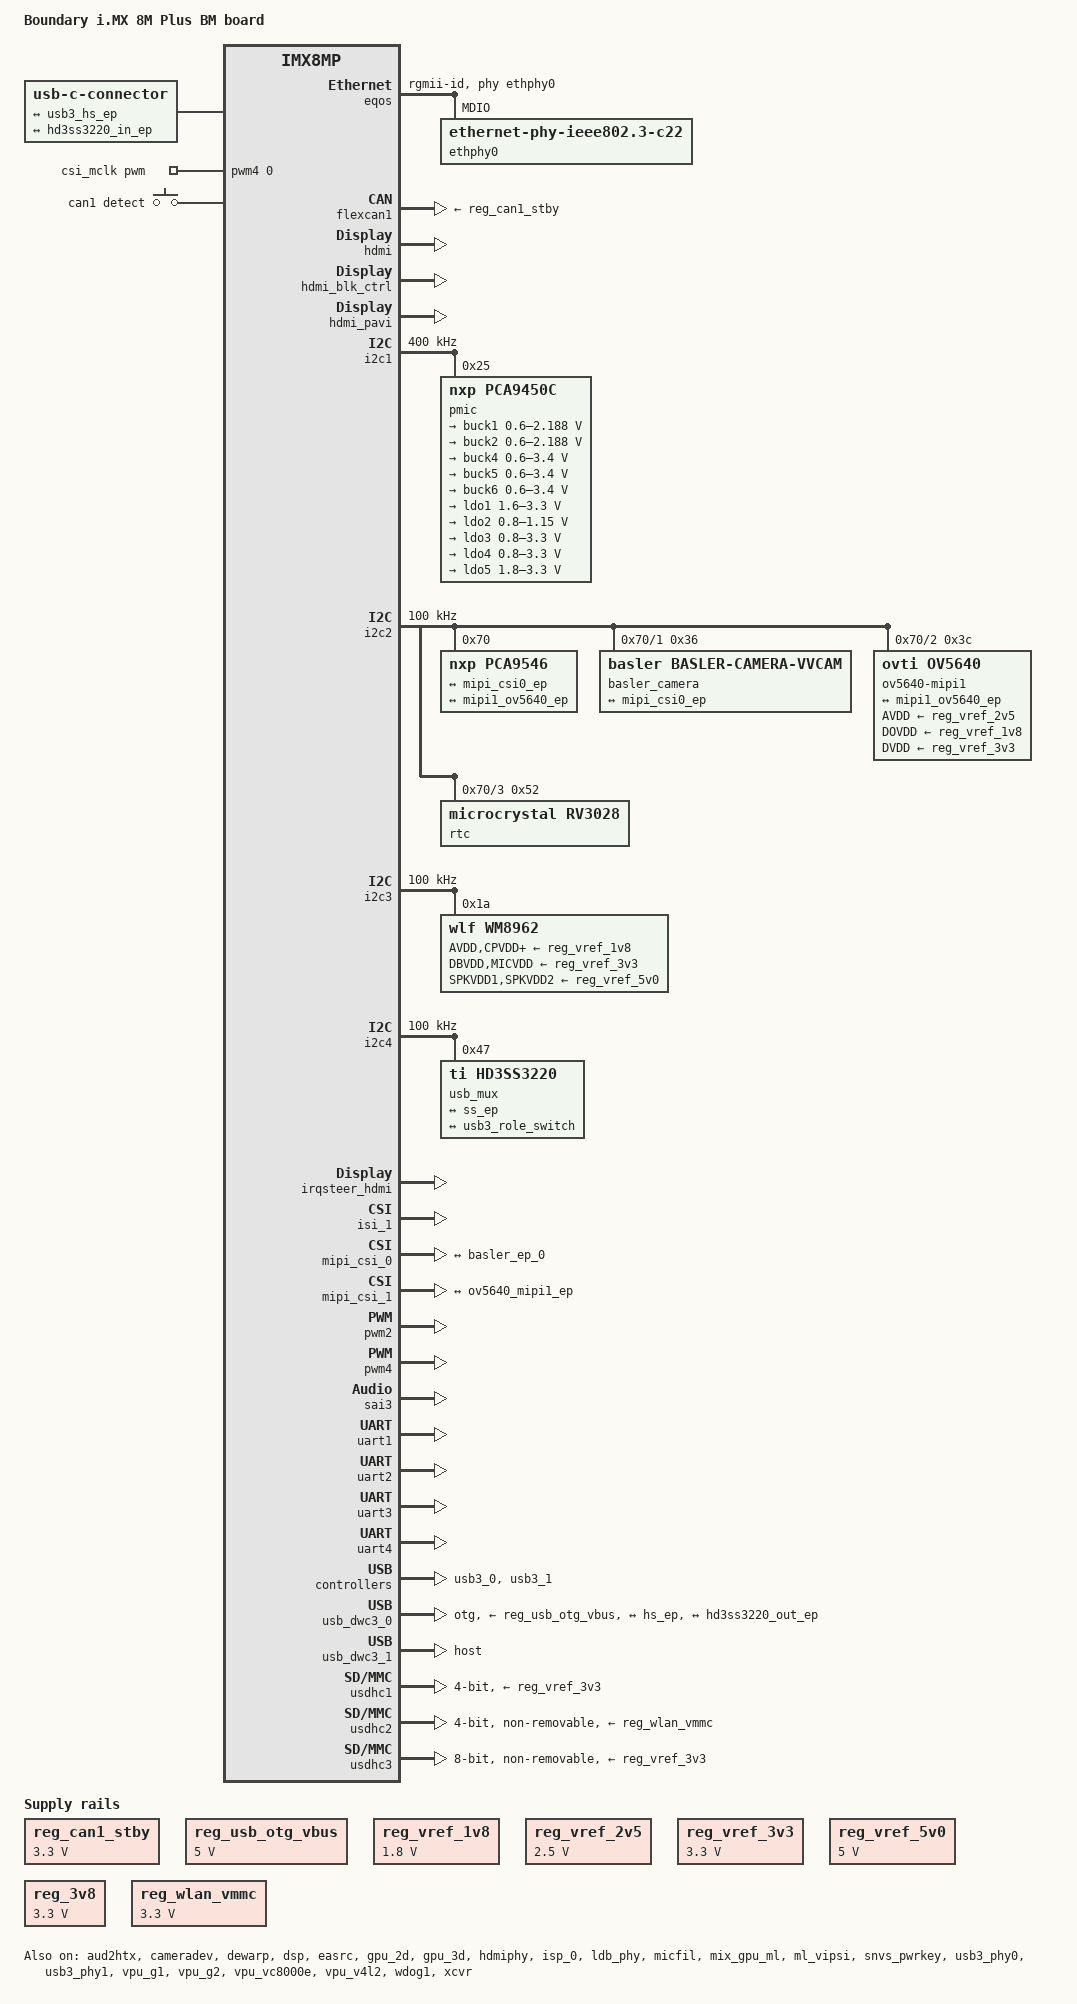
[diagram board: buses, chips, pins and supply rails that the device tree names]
// SPDX-License-Identifier: (GPL-2.0+ OR MIT)
/*
 * Copyright 2023 Boundary Devices
 */

/dts-v1/;

#include <dt-bindings/usb/pd.h>
#include "imx8mp.dtsi"
#define TC358867_I2C_BUS	<&i2c2d>

&iomuxc {
	pinctrl-names = "default";
	pinctrl-0 = <&pinctrl_hog>;

	pinctrl_backlight_lvds: backlight-lvdsgrp {
		fsl,pins = <
#define GP_BACKLIGHT_LVDS  <&gpio4 11 GPIO_ACTIVE_HIGH>
			MX8MP_IOMUXC_SAI1_TXC__GPIO4_IO11	0x106
		>;
	};

	pinctrl_bt_rfkill: bt-rfkillgrp {
		fsl,pins = <
#define GP_BT_RFKILL_RESET	<&gpio3 9 GPIO_ACTIVE_LOW>
			MX8MP_IOMUXC_NAND_DATA03__GPIO3_IO09	0x119
		>;
	};

	pinctrl_eqos: eqosgrp {
		fsl,pins = <
			MX8MP_IOMUXC_ENET_MDC__ENET_QOS_MDC		0x20
			MX8MP_IOMUXC_ENET_MDIO__ENET_QOS_MDIO		0xa0
			MX8MP_IOMUXC_ENET_TX_CTL__ENET_QOS_RGMII_TX_CTL	0x1f
			MX8MP_IOMUXC_ENET_TXC__CCM_ENET_QOS_CLOCK_GENERATE_TX_CLK	0x1f
			MX8MP_IOMUXC_ENET_TD0__ENET_QOS_RGMII_TD0		0x1f
			MX8MP_IOMUXC_ENET_TD1__ENET_QOS_RGMII_TD1		0x1f
			MX8MP_IOMUXC_ENET_TD2__ENET_QOS_RGMII_TD2		0x1f
			MX8MP_IOMUXC_ENET_TD3__ENET_QOS_RGMII_TD3		0x1f

			MX8MP_IOMUXC_ENET_RX_CTL__ENET_QOS_RGMII_RX_CTL	0x91
			MX8MP_IOMUXC_ENET_RXC__CCM_ENET_QOS_CLOCK_GENERATE_RX_CLK	0x91
			MX8MP_IOMUXC_ENET_RD0__ENET_QOS_RGMII_RD0	0x91
			MX8MP_IOMUXC_ENET_RD1__ENET_QOS_RGMII_RD1	0x91
			MX8MP_IOMUXC_ENET_RD2__ENET_QOS_RGMII_RD2	0x91
			MX8MP_IOMUXC_ENET_RD3__ENET_QOS_RGMII_RD3	0x91
#define GP_EQOS_RESET	<&gpio3 16 GPIO_ACTIVE_LOW>
			MX8MP_IOMUXC_NAND_READY_B__GPIO3_IO16		0x100
#define GPIRQ_EQOS_PHY	<&gpio3 2 IRQ_TYPE_LEVEL_LOW>
			MX8MP_IOMUXC_NAND_CE1_B__GPIO3_IO02		0x10
		>;
	};

	pinctrl_flexcan1: flexcan1grp {
		fsl,pins = <
			MX8MP_IOMUXC_SAI5_RXD2__CAN1_RX		0x154
			MX8MP_IOMUXC_SAI5_RXD1__CAN1_TX		0x154
		>;
	};

	pinctrl_flexcan1_reg: flexcan1reggrp {
		fsl,pins = <
#define GP_CAN1_STANDBY	<&gpio3 20 GPIO_ACTIVE_HIGH>
			MX8MP_IOMUXC_SAI5_RXC__GPIO3_IO20	0x154	/* CAN1_STBY */
		>;
	};

	pinctrl_key_can1: key-can1grp {
		fsl,pins = <
#define GP_CAN1_DETECT		<&gpio1 11 GPIO_ACTIVE_HIGH>
			MX8MP_IOMUXC_GPIO1_IO11__GPIO1_IO11	0x16
		>;
	};

	pinctrl_hog: hoggrp {
		fsl,pins = <
			MX8MP_IOMUXC_HDMI_CEC__HDMIMIX_HDMI_CEC		0x40000019
			MX8MP_IOMUXC_HDMI_DDC_SCL__HDMIMIX_HDMI_SCL	0x400001c3
			MX8MP_IOMUXC_HDMI_DDC_SDA__HDMIMIX_HDMI_SDA	0x400001c3
			MX8MP_IOMUXC_HDMI_HPD__HDMIMIX_HDMI_HPD		0x40000019
			MX8MP_IOMUXC_NAND_DQS__GPIO3_IO14		0x41	/* TP74 */

			/* J1, RS422 */
			MX8MP_IOMUXC_SAI1_TXD7__GPIO4_IO19		0x41	/* Pin 9 */
			MX8MP_IOMUXC_SAI1_RXD4__GPIO4_IO06		0x41	/* Pin 11 */

			/* J9, Basler Camera*/
			MX8MP_IOMUXC_NAND_DATA01__GPIO3_IO07		0x41	/* Pin 17 */
			MX8MP_IOMUXC_NAND_DATA02__GPIO3_IO08		0x41	/* Pin 23 */
			MX8MP_IOMUXC_NAND_DATA00__GPIO3_IO06		0x41	/* Pin 24 */

			/* J14 LTE Modem */
			MX8MP_IOMUXC_SAI2_TXD0__GPIO4_IO26		0x41	/* Pin 32 */
			MX8MP_IOMUXC_SAI3_RXC__GPIO4_IO29		0x41	/* Pin 34 */

			/* J2 */
			MX8MP_IOMUXC_SAI5_MCLK__GPIO3_IO25		0x41	/* Pin 41 */
			MX8MP_IOMUXC_SAI5_RXD3__GPIO3_IO24		0x41	/* Pin 45 */
			MX8MP_IOMUXC_SPDIF_TX__GPIO5_IO03		0x41	/* Pin 55, TP14 */
			MX8MP_IOMUXC_SAI1_RXD2__GPIO4_IO04		0x41	/* Pin 28 */
			MX8MP_IOMUXC_SAI1_RXD3__GPIO4_IO05		0x41	/* Pin 30 */
			MX8MP_IOMUXC_SAI1_RXD5__GPIO4_IO07		0x41	/* Pin 36 */
			MX8MP_IOMUXC_SAI1_RXD6__GPIO4_IO08		0x41	/* Pin 38 */
			MX8MP_IOMUXC_SAI1_RXD7__GPIO4_IO09		0x41	/* Pin 40 */
			MX8MP_IOMUXC_SAI1_TXD0__GPIO4_IO12		0x41	/* Pin 48 */
			MX8MP_IOMUXC_SAI1_TXD1__GPIO4_IO13		0x41	/* Pin 50 */
			MX8MP_IOMUXC_SAI1_TXD2__GPIO4_IO14		0x41	/* Pin 52 */
			MX8MP_IOMUXC_SAI1_TXD3__GPIO4_IO15		0x41	/* Pin 54 */
			MX8MP_IOMUXC_SAI1_TXD4__GPIO4_IO16		0x41	/* Pin 56 */
			MX8MP_IOMUXC_SAI1_TXD5__GPIO4_IO17		0x41	/* Pin 58 */
			MX8MP_IOMUXC_SAI1_TXFS__GPIO4_IO10		0x41	/* Pin 64 */
			MX8MP_IOMUXC_SAI1_MCLK__GPIO4_IO20		0x41	/* Pin 68 */
			MX8MP_IOMUXC_ECSPI2_MOSI__GPIO5_IO11		0x41	/* Pin 72 */
			MX8MP_IOMUXC_ECSPI2_MISO__GPIO5_IO12		0x41	/* Pin 74 */
			MX8MP_IOMUXC_ECSPI2_SS0__GPIO5_IO13		0x41	/* Pin 76 */
			MX8MP_IOMUXC_ECSPI2_SCLK__GPIO5_IO10		0x41	/* Pin 80 */

			/* J8 */
			MX8MP_IOMUXC_GPIO1_IO01__GPIO1_IO01		0x41	/* Pin 75 */
			MX8MP_IOMUXC_GPIO1_IO07__GPIO1_IO07		0x41	/* Pin 77 */
			MX8MP_IOMUXC_GPIO1_IO10__GPIO1_IO10		0x41	/* Pin 83 */

			/* J33 */
			MX8MP_IOMUXC_SAI2_MCLK__GPIO4_IO27		0x41	/* Pin 61 */
			MX8MP_IOMUXC_SAI2_RXD0__GPIO4_IO23		0x41	/* Pin 65, TP11 */
			MX8MP_IOMUXC_SAI2_TXC__GPIO4_IO25		0x41	/* Pin 67 */
			MX8MP_IOMUXC_SAI2_RXC__GPIO4_IO22		0x41	/* Pin 69 */
			MX8MP_IOMUXC_SAI2_RXFS__GPIO4_IO21		0x41	/* Pin 73 */
			MX8MP_IOMUXC_SAI2_TXFS__GPIO4_IO24		0x41	/* Pin 75 */
			MX8MP_IOMUXC_SD1_DATA4__GPIO2_IO06		0x41	/* Pin 68 */
			MX8MP_IOMUXC_SD1_DATA5__GPIO2_IO07		0x41	/* Pin 70 */
			MX8MP_IOMUXC_SD1_DATA6__GPIO2_IO08		0x41	/* Pin 72, TP15 */
			MX8MP_IOMUXC_SD1_DATA7__GPIO2_IO09		0x41	/* Pin 74, TP16 */
			MX8MP_IOMUXC_SD1_RESET_B__GPIO2_IO10		0x41	/* Pin 48 */
		>;
	};

	pinctrl_i2c1: i2c1grp {
		fsl,pins = <
			MX8MP_IOMUXC_I2C1_SCL__I2C1_SCL		0x400001c3
			MX8MP_IOMUXC_I2C1_SDA__I2C1_SDA		0x400001c3
		>;
	};

	pinctrl_i2c1_1: i2c1-1grp {
		fsl,pins = <
#define GP_I2C1_SCL	<&gpio5 14 GPIO_OPEN_DRAIN>
			MX8MP_IOMUXC_I2C1_SCL__GPIO5_IO14        	0x1c3
#define GP_I2C1_SDA	<&gpio5 15 GPIO_OPEN_DRAIN>
			MX8MP_IOMUXC_I2C1_SDA__GPIO5_IO15        	0x1c3
		>;
	};

	pinctrl_i2c2: i2c2grp {
		fsl,pins = <
			MX8MP_IOMUXC_I2C2_SCL__I2C2_SCL			0x400001c3
			MX8MP_IOMUXC_I2C2_SDA__I2C2_SDA			0x400001c3
		>;
	};

	pinctrl_i2c2_1: i2c2-1grp {
		fsl,pins = <
#define GP_I2C2_SCL	<&gpio5 16 GPIO_OPEN_DRAIN>
			MX8MP_IOMUXC_I2C2_SCL__GPIO5_IO16        	0x1c3
#define GP_I2C2_SDA	<&gpio5 17 GPIO_OPEN_DRAIN>
			MX8MP_IOMUXC_I2C2_SDA__GPIO5_IO17        	0x1c3
		>;
	};

	pinctrl_i2c2c_ov5640_mipi: i2c2c-ov5640-mipigrp {
		fsl,pins = <
			/* J10 CSI2 capture */
#define GP_OV5640_MIPI_POWER_DOWN	<&gpio5 4 GPIO_ACTIVE_HIGH>
			MX8MP_IOMUXC_SPDIF_RX__GPIO5_IO04		0x141
#define GP_OV5640_MIPI_RESET		<&gpio5 5 GPIO_ACTIVE_LOW>
			MX8MP_IOMUXC_SPDIF_EXT_CLK__GPIO5_IO05		0x101
		>;
	};

	pinctrl_i2c2d_rv3028: i2c2d-rv3028grp {
		fsl,pins = <
#define GPIRQ_RV3028		<&gpio1 4 IRQ_TYPE_LEVEL_LOW>
			MX8MP_IOMUXC_GPIO1_IO04__GPIO1_IO04		0x1c0
		>;
	};

	pinctrl_i2c2_pca9546: i2c2-pca9546grp {
		fsl,pins = <
#define GP_PCA9546_RESET	<&gpio1 5 GPIO_ACTIVE_LOW>
			MX8MP_IOMUXC_GPIO1_IO05__GPIO1_IO05        	0x100
		>;
	};

	pinctrl_i2c3: i2c3grp {
		fsl,pins = <
			MX8MP_IOMUXC_I2C3_SCL__I2C3_SCL			0x400001c3
			MX8MP_IOMUXC_I2C3_SDA__I2C3_SDA			0x400001c3
		>;
	};

	pinctrl_i2c3_1: i2c3-1grp {
		fsl,pins = <
#define GP_I2C3_SCL	<&gpio5 18 GPIO_OPEN_DRAIN>
			MX8MP_IOMUXC_I2C3_SCL__GPIO5_IO18        	0x1c3
#define GP_I2C3_SDA	<&gpio5 19 GPIO_OPEN_DRAIN>
			MX8MP_IOMUXC_I2C3_SDA__GPIO5_IO19        	0x1c3
		>;
	};

	pinctrl_i2c4: i2c4grp {
		fsl,pins = <
			MX8MP_IOMUXC_I2C4_SCL__I2C4_SCL			0x400001c3
			MX8MP_IOMUXC_I2C4_SDA__I2C4_SDA			0x400001c3
		>;
	};

	pinctrl_i2c4_1: i2c4-1grp {
		fsl,pins = <
#define GP_I2C4_SCL	<&gpio5 20 GPIO_OPEN_DRAIN>
			MX8MP_IOMUXC_I2C4_SCL__GPIO5_IO20        	0x1c3
#define GP_I2C4_SDA	<&gpio5 21 GPIO_OPEN_DRAIN>
			MX8MP_IOMUXC_I2C4_SDA__GPIO5_IO21        	0x1c3
		>;
	};

	pinctrl_i2c4_hd3ss3220: i2c4-hd3ss3220grp {
		fsl,pins = <
#define GPIRQ_HD3SS3220	<&gpio1 8 IRQ_TYPE_LEVEL_LOW>
			MX8MP_IOMUXC_GPIO1_IO08__GPIO1_IO08		0x16
		>;
	};

	pinctrl_pdm: pdmgrp {
		fsl,pins = <
			MX8MP_IOMUXC_SAI1_RXC__AUDIOMIX_PDM_CLK			0xd6
			MX8MP_IOMUXC_SAI3_RXFS__AUDIOMIX_PDM_BIT_STREAM00	0xd6
		>;
	};

	pinctrl_pmic: pmicirq {
		fsl,pins = <
#define GPIRQ_PMIC	<&gpio3 0 IRQ_TYPE_LEVEL_LOW>
			MX8MP_IOMUXC_NAND_ALE__GPIO3_IO00	0x41
		>;
	};

	pinctrl_pwm2: pwm2grp {
		fsl,pins = <
			/* J7 backlight connector */
			MX8MP_IOMUXC_GPIO1_IO09__PWM2_OUT	0xd6
		>;
	};

	pinctrl_pwm4: pwm4grp {
		fsl,pins = <
			/* J10, pin 6, ov5640 camera clk */
			MX8MP_IOMUXC_SAI5_RXFS__PWM4_OUT	0x116
		>;
	};

	pinctrl_reg_usbotg_vbus: reg-usbotg-vbusgrp {
		fsl,pins = <
#define GP_REG_USB_OTG_VBUS	<&gpio1 12 GPIO_ACTIVE_HIGH>
			MX8MP_IOMUXC_GPIO1_IO12__GPIO1_IO12	0x16
		>;
	};

	pinctrl_reg_3v8: reg-3v8grp {
		fsl,pins = <
#define GP_REG_3V8	<&gpio2 19 GPIO_ACTIVE_HIGH>
			MX8MP_IOMUXC_SAI1_RXD0__GPIO4_IO02	0x16
		>;
	};

	pinctrl_reg_wlan_vmmc: reg-wlan-vmmcgrp {
		fsl,pins = <
#define GP_REG_WLAN_VMMC	<&gpio2 19 GPIO_ACTIVE_HIGH>
			MX8MP_IOMUXC_SD2_RESET_B__GPIO2_IO19	0x16
		>;
	};

	pinctrl_sai3: sai3grp {
		fsl,pins = <
			/* wm8962 */
			MX8MP_IOMUXC_SAI3_TXFS__AUDIOMIX_SAI3_TX_SYNC	0xd6
			MX8MP_IOMUXC_SAI3_TXC__AUDIOMIX_SAI3_TX_BCLK	0xd6
			MX8MP_IOMUXC_SAI3_RXD__AUDIOMIX_SAI3_RX_DATA00	0xd6
			MX8MP_IOMUXC_SAI3_TXD__AUDIOMIX_SAI3_TX_DATA00	0xd6
			MX8MP_IOMUXC_SAI3_MCLK__AUDIOMIX_SAI3_MCLK	0xd6
		>;
	};

	pinctrl_uart1: uart1grp {
		fsl,pins = <
			MX8MP_IOMUXC_UART1_RXD__UART1_DCE_RX	0x140
			MX8MP_IOMUXC_UART1_TXD__UART1_DCE_TX	0x140
			MX8MP_IOMUXC_UART3_RXD__UART1_DCE_CTS	0x140
			MX8MP_IOMUXC_UART3_TXD__UART1_DCE_RTS	0x140
		>;
	};

	pinctrl_uart2: uart2grp {
		fsl,pins = <
			MX8MP_IOMUXC_UART2_RXD__UART2_DCE_RX	0x140
			MX8MP_IOMUXC_UART2_TXD__UART2_DCE_TX	0x140
		>;
	};

	pinctrl_uart3: uart3grp {
		fsl,pins = <
			MX8MP_IOMUXC_ECSPI1_SCLK__UART3_DCE_RX	0x140
			MX8MP_IOMUXC_ECSPI1_MOSI__UART3_DCE_TX	0x140
#define GP_UART3_RS485_RX_EN	<&gpio5 9 GPIO_ACTIVE_HIGH>	/* really active low */
			MX8MP_IOMUXC_ECSPI1_SS0__GPIO5_IO09	0x140
#define GP_UART3_RS485_TX_EN	<&gpio5 8 GPIO_ACTIVE_HIGH>
			MX8MP_IOMUXC_ECSPI1_MISO__GPIO5_IO08	0x100
		>;
	};

	pinctrl_uart4: uart4grp {
		fsl,pins = <
			MX8MP_IOMUXC_UART4_RXD__UART4_DCE_RX	0x140
			MX8MP_IOMUXC_UART4_TXD__UART4_DCE_TX	0x140
#define GP_UART4_RS485_RX_EN	<&gpio5 13 GPIO_ACTIVE_HIGH>	/* really active low */
			MX8MP_IOMUXC_ECSPI2_SS0__GPIO5_IO13	0x140
#define GP_UART4_RS485_TX_EN	<&gpio5 12 GPIO_ACTIVE_HIGH>
			MX8MP_IOMUXC_ECSPI2_MISO__GPIO5_IO12	0x100
		>;
	};

	pinctrl_usb3_0: usb3-0grp {
		fsl,pins = <
			MX8MP_IOMUXC_GPIO1_IO13__USB1_OC	0x1c0
		>;
	};

	pinctrl_usb3_1: usb3-1grp {
		fsl,pins = <
#define GP_USB3_1_HUB_RESET	<&gpio1 6 GPIO_ACTIVE_LOW>
			MX8MP_IOMUXC_GPIO1_IO06__GPIO1_IO06	0x16
		>;
	};

	pinctrl_usdhc1: usdhc1grp {
		fsl,pins = <
			MX8MP_IOMUXC_SD1_CLK__USDHC1_CLK	0x190
			MX8MP_IOMUXC_SD1_CMD__USDHC1_CMD	0x1d0
			MX8MP_IOMUXC_SD1_DATA0__USDHC1_DATA0	0x1d0
			MX8MP_IOMUXC_SD1_DATA1__USDHC1_DATA1	0x1d0
			MX8MP_IOMUXC_SD1_DATA2__USDHC1_DATA2	0x1d0
			MX8MP_IOMUXC_SD1_DATA3__USDHC1_DATA3	0x1d0
			MX8MP_IOMUXC_GPIO1_IO03__USDHC1_VSELECT	0x116
		>;
	};

	pinctrl_usdhc1_100mhz: usdhc1grp-100mhz {
		fsl,pins = <
			MX8MP_IOMUXC_SD1_CLK__USDHC1_CLK	0x194
			MX8MP_IOMUXC_SD1_CMD__USDHC1_CMD	0x1d4
			MX8MP_IOMUXC_SD1_DATA0__USDHC1_DATA0	0x1d4
			MX8MP_IOMUXC_SD1_DATA1__USDHC1_DATA1	0x1d4
			MX8MP_IOMUXC_SD1_DATA2__USDHC1_DATA2	0x1d4
			MX8MP_IOMUXC_SD1_DATA3__USDHC1_DATA3	0x1d4
		>;
	};

	pinctrl_usdhc1_200mhz: usdhc1grp-200mhz {
		fsl,pins = <
			MX8MP_IOMUXC_SD1_CLK__USDHC1_CLK	0x196
			MX8MP_IOMUXC_SD1_CMD__USDHC1_CMD	0x1d6
			MX8MP_IOMUXC_SD1_DATA0__USDHC1_DATA0	0x1d6
			MX8MP_IOMUXC_SD1_DATA1__USDHC1_DATA1	0x1d6
			MX8MP_IOMUXC_SD1_DATA2__USDHC1_DATA2	0x1d6
			MX8MP_IOMUXC_SD1_DATA3__USDHC1_DATA3	0x1d6
		>;
	};

	pinctrl_usdhc1_gpio: usdhc1grp-gpio {
		fsl,pins = <
#define GP_USDHC1_CD	<&gpio2 11 GPIO_ACTIVE_LOW>
			MX8MP_IOMUXC_SD1_STROBE__GPIO2_IO11	0x1c4
		>;
	};

	pinctrl_usdhc2: usdhc2grp {
		fsl,pins = <
			MX8MP_IOMUXC_SD2_CLK__USDHC2_CLK	0x190
			MX8MP_IOMUXC_SD2_CMD__USDHC2_CMD	0x1d0
			MX8MP_IOMUXC_SD2_DATA0__USDHC2_DATA0	0x1d0
			MX8MP_IOMUXC_SD2_DATA1__USDHC2_DATA1	0x1d0
			MX8MP_IOMUXC_SD2_DATA2__USDHC2_DATA2	0x1d0
			MX8MP_IOMUXC_SD2_DATA3__USDHC2_DATA3	0x1d0
		>;
	};

	pinctrl_usdhc2_100mhz: usdhc2grp100mhz {
		fsl,pins = <
			MX8MP_IOMUXC_SD2_CLK__USDHC2_CLK	0x194
			MX8MP_IOMUXC_SD2_CMD__USDHC2_CMD	0x1d4
			MX8MP_IOMUXC_SD2_DATA0__USDHC2_DATA0	0x1d4
			MX8MP_IOMUXC_SD2_DATA1__USDHC2_DATA1	0x1d4
			MX8MP_IOMUXC_SD2_DATA2__USDHC2_DATA2	0x1d4
			MX8MP_IOMUXC_SD2_DATA3__USDHC2_DATA3	0x1d4
		>;
	};

	pinctrl_usdhc2_200mhz: usdhc2grp200mhz {
		fsl,pins = <
			MX8MP_IOMUXC_SD2_CLK__USDHC2_CLK	0x196
			MX8MP_IOMUXC_SD2_CMD__USDHC2_CMD	0x1d6
			MX8MP_IOMUXC_SD2_DATA0__USDHC2_DATA0	0x1d6
			MX8MP_IOMUXC_SD2_DATA1__USDHC2_DATA1	0x1d6
			MX8MP_IOMUXC_SD2_DATA2__USDHC2_DATA2	0x1d6
			MX8MP_IOMUXC_SD2_DATA3__USDHC2_DATA3	0x1d6
		>;
	};

	pinctrl_usdhc3: usdhc3grp {
		fsl,pins = <
			MX8MP_IOMUXC_NAND_WE_B__USDHC3_CLK	0x190
			MX8MP_IOMUXC_NAND_WP_B__USDHC3_CMD	0x1d0
			MX8MP_IOMUXC_NAND_DATA04__USDHC3_DATA0	0x1d0
			MX8MP_IOMUXC_NAND_DATA05__USDHC3_DATA1	0x1d0
			MX8MP_IOMUXC_NAND_DATA06__USDHC3_DATA2	0x1d0
			MX8MP_IOMUXC_NAND_DATA07__USDHC3_DATA3	0x1d0
			MX8MP_IOMUXC_NAND_RE_B__USDHC3_DATA4	0x1d0
			MX8MP_IOMUXC_NAND_CE2_B__USDHC3_DATA5	0x1d0
			MX8MP_IOMUXC_NAND_CE3_B__USDHC3_DATA6	0x1d0
			MX8MP_IOMUXC_NAND_CLE__USDHC3_DATA7	0x1d0
#define GP_EMMC_RESET	<&gpio3 1 IRQ_TYPE_LEVEL_LOW>
			MX8MP_IOMUXC_NAND_CE0_B__GPIO3_IO01	0x140
		>;
	};

	pinctrl_usdhc3_100mhz: usdhc3grp-100mhz {
		fsl,pins = <
			MX8MP_IOMUXC_NAND_WE_B__USDHC3_CLK	0x194
			MX8MP_IOMUXC_NAND_WP_B__USDHC3_CMD	0x1d4
			MX8MP_IOMUXC_NAND_DATA04__USDHC3_DATA0	0x1d4
			MX8MP_IOMUXC_NAND_DATA05__USDHC3_DATA1	0x1d4
			MX8MP_IOMUXC_NAND_DATA06__USDHC3_DATA2	0x1d4
			MX8MP_IOMUXC_NAND_DATA07__USDHC3_DATA3	0x1d4
			MX8MP_IOMUXC_NAND_RE_B__USDHC3_DATA4	0x1d4
			MX8MP_IOMUXC_NAND_CE2_B__USDHC3_DATA5	0x1d4
			MX8MP_IOMUXC_NAND_CE3_B__USDHC3_DATA6	0x1d4
			MX8MP_IOMUXC_NAND_CLE__USDHC3_DATA7	0x1d4
		>;
	};

	pinctrl_usdhc3_200mhz: usdhc3grp-200mhz {
		fsl,pins = <
			MX8MP_IOMUXC_NAND_WE_B__USDHC3_CLK	0x196
			MX8MP_IOMUXC_NAND_WP_B__USDHC3_CMD	0x1d6
			MX8MP_IOMUXC_NAND_DATA04__USDHC3_DATA0	0x1d6
			MX8MP_IOMUXC_NAND_DATA05__USDHC3_DATA1	0x1d6
			MX8MP_IOMUXC_NAND_DATA06__USDHC3_DATA2	0x1d6
			MX8MP_IOMUXC_NAND_DATA07__USDHC3_DATA3	0x1d6
			MX8MP_IOMUXC_NAND_RE_B__USDHC3_DATA4	0x1d6
			MX8MP_IOMUXC_NAND_CE2_B__USDHC3_DATA5	0x1d6
			MX8MP_IOMUXC_NAND_CE3_B__USDHC3_DATA6	0x1d6
			MX8MP_IOMUXC_NAND_CLE__USDHC3_DATA7	0x1d6
		>;
	};

	pinctrl_wdog: wdoggrp {
		fsl,pins = <
			MX8MP_IOMUXC_GPIO1_IO02__WDOG1_WDOG_B	0xc6
		>;
	};
};

/ {
	model = "Boundary i.MX 8M Plus BM board";
	compatible = "boundary,imx8mp-bm", "fsl,imx8mp";

	aliases {
		backlight_lvds = &backlight_lvds;
		backlight_lvds2 = &backlight_lvds;
		fb_lvds = &lcdif2;
		fb_lvds2 = &lcdif2;
		fb_hdmi = &lcdif3;
		lcdif = &lcdif1;
		ldb = &ldb;
		ldb_chan = &ldb_chan;
		ldb_chan2 = &ldb_chan2;
		pwm_lvds = &pwm2;
		pwm_lvds2 = &pwm2;
		t_lvds = &t_lvds;
		t_lvds2 = &t_lvds2;
		usb_mux = &usb_mux;
	};

	backlight_lvds: backlight-lvds {
		brightness-levels = <0 1 2 3 4 5 6 7 8 9 10>;
		compatible = "pwm-backlight";
		default-brightness-level = <8>;
		enable-gpios = GP_BACKLIGHT_LVDS;
		pinctrl-names = "default";
		pinctrl-0 = <&pinctrl_backlight_lvds>;
		pwms = <&pwm2 0 100000>;
		status = "disabled";

	};

	bt-rfkill {
		compatible = "net,rfkill-gpio";
		pinctrl-names = "default";
		pinctrl-0 = <&pinctrl_bt_rfkill>;
		name = "bt-rfkill";
		type = <2>; /* Bluetooth */
		reset-gpios = GP_BT_RFKILL_RESET;
		status = "okay";
	};

	chosen {
		stdout-path = &uart2;
	};

	connector {
		compatible = "usb-c-connector";
		label = "USB-C";
		data-role = "dual";

		ports {
			#address-cells = <1>;
			#size-cells = <0>;

			port@0 {
				reg = <0>;
				hs_ep: endpoint {
					remote-endpoint = <&usb3_hs_ep>;
				};
			};

			port@1 {
				reg = <1>;
				ss_ep: endpoint {
					remote-endpoint = <&hd3ss3220_in_ep>;
				};
			};
		};
	};

	csi_mclk: csi-mclk {
		compatible = "pwm-clock";
		#clock-cells = <0>;
		clock-frequency = <20000000>;
		clock-output-names = "csi_mclk";
		pwms = <&pwm4 0 50>; /* 1 / 50 ns = 20 MHz */
	};

	gpio_keys: gpio-keys {
		compatible = "gpio-keys";
		pinctrl-names = "default";
		pinctrl-0 = <&pinctrl_key_can1>;

		can1 {
			label = "can1 detect";
			gpios = GP_CAN1_DETECT;
			linux,code = <KEY_1>;
		};
	};

	reg_can1_stby: regulator-can1-stby {
		compatible = "regulator-fixed";
		regulator-name = "can1-stby";
		pinctrl-names = "default";
		pinctrl-0 = <&pinctrl_flexcan1_reg>;
		regulator-min-microvolt = <3300000>;
		regulator-max-microvolt = <3300000>;
		gpio = GP_CAN1_STANDBY;
	};

	reg_usb_otg_vbus: regulator-usb-otg-vbus {
		compatible = "regulator-fixed";
		pinctrl-names = "default";
		pinctrl-0 = <&pinctrl_reg_usbotg_vbus>;
		regulator-name = "usb_otg_vbus";
		regulator-min-microvolt = <5000000>;
		regulator-max-microvolt = <5000000>;
		gpio = GP_REG_USB_OTG_VBUS;
		enable-active-high;
	};

	reg_vref_1v8: regulator-vref-1v8 {
		compatible = "regulator-fixed";
		regulator-name = "vref-1v8";
		regulator-min-microvolt = <1800000>;
		regulator-max-microvolt = <1800000>;
	};

	reg_vref_2v5: regulator-vref-2v5 {
		compatible = "regulator-fixed";
		regulator-name = "vref-2v5";
		regulator-min-microvolt = <2500000>;
		regulator-max-microvolt = <2500000>;
	};

	reg_vref_3v3: regulator-vref-3v3 {
		compatible = "regulator-fixed";
		regulator-name = "vref-3v3";
		regulator-min-microvolt = <3300000>;
		regulator-max-microvolt = <3300000>;
	};

	reg_vref_5v0: regulator-vref-5v0 {
		compatible = "regulator-fixed";
		regulator-name = "vref-5v0";
		regulator-min-microvolt = <5000000>;
		regulator-max-microvolt = <5000000>;
	};

	reg_3v8: regulator-3v8 {
		compatible = "regulator-fixed";
		pinctrl-names = "default";
		pinctrl-0 = <&pinctrl_reg_3v8>;
		regulator-name = "reg_3v8";
		regulator-min-microvolt = <3300000>;
		regulator-max-microvolt = <3300000>;
		gpio = GP_REG_3V8;
		startup-delay-us = <70000>;
		enable-active-high;
	};

	reg_wlan_vmmc: regulator-wlan-vmmc {
		compatible = "regulator-fixed";
		pinctrl-names = "default";
		pinctrl-0 = <&pinctrl_reg_wlan_vmmc>;
		regulator-name = "reg_wlan_vmmc";
		regulator-min-microvolt = <3300000>;
		regulator-max-microvolt = <3300000>;
		gpio = GP_REG_WLAN_VMMC;
		startup-delay-us = <70000>;
		enable-active-high;
	};

	reserved-memory {
		linux,cma {
			size = <0 0x20000000>;
		};
	};

	sound-hdmi {
		compatible = "fsl,imx-audio-hdmi";
		model = "audio-hdmi";
		audio-cpu = <&aud2htx>;
		hdmi-out;
		constraint-rate = <44100>,
				<88200>,
				<176400>,
				<32000>,
				<48000>,
				<96000>,
				<192000>;
		status = "okay";
	};

	sound-wm8962 {
#if 0
		asrc-controller = <&easrc>;
#endif
		audio-cpu = <&sai3>;
		audio-codec = <&wm8962>;
		audio-routing =
			"Ext Spk", "SPK_LP",
			"Ext Spk", "SPK_LN";
#if 0
			"CPU-Playback", "ASRC-Playback",
			"Playback", "CPU-Playback";
#endif
		codec-master;
		compatible = "fsl,imx-audio-wm8962";
		model = "wm8962-audio";
	};

	sound-micfil {
		compatible = "fsl,imx-audio-micfil";
		model = "imx-audio-micfil";
		cpu-dai = <&micfil>;
	};

	sound-xcvr {
		compatible = "fsl,imx-audio-xcvr";
		model = "imx-audio-xcvr";
		cpu-dai = <&xcvr>;
	};
};

&A53_0 {
	cpu-supply = <&buck2>;
};

&A53_1 {
	cpu-supply = <&buck2>;
};

&A53_2 {
	cpu-supply = <&buck2>;
};

&A53_3 {
	cpu-supply = <&buck2>;
};

&aud2htx {
	status = "okay";
};

&cameradev {
	status = "okay";
};

&clk {
	init-on-array = <IMX8MP_CLK_HSIO_ROOT>;
};

&dewarp {
	status = "okay";
};

&dsp {
	status = "okay";
};

&easrc {
	fsl,asrc-rate  = <48000>;
	status = "okay";
};

&eqos {
	pinctrl-names = "default";
	pinctrl-0 = <&pinctrl_eqos>;
	phy-mode = "rgmii-id";
	phy-handle = <&ethphy0>;
	status = "okay";

	mdio {
		compatible = "snps,dwmac-mdio";
		#address-cells = <1>;
		#size-cells = <0>;

		ethphy0: ethernet-phy {
			compatible = "ethernet-phy-ieee802.3-c22";
			at803x,hib-disabled;
			eee-broken-1000t;
			interrupts-extended = GPIRQ_EQOS_PHY;
#if 0
			reset-gpios = GP_EQOS_RESET;
#endif
			reg-mask = <0x90>;
		};
	};
};

&flexcan1 {
	pinctrl-names = "default";
	pinctrl-0 = <&pinctrl_flexcan1>;
	xceiver-supply = <&reg_can1_stby>;
	status = "okay";
};

&gpu_2d {
	status = "okay";
};

&gpu_3d {
	status = "okay";
};

&hdmi {
	status = "okay";
};

&hdmiphy {
	status = "okay";
};

&hdmi_blk_ctrl {
	status = "okay";
};

&hdmi_pavi {
	status = "okay";
};

&i2c1 {
	clock-frequency = <400000>;
	pinctrl-names = "default", "gpio";
	pinctrl-0 = <&pinctrl_i2c1>;
	pinctrl-1 = <&pinctrl_i2c1_1>;
	scl-gpios = GP_I2C1_SCL;
	sda-gpios = GP_I2C1_SDA;
	status = "okay";

	pmic: pca9450@25 {
		reg = <0x25>;
		compatible = "nxp,pca9450c";
		pinctrl-0 = <&pinctrl_pmic>;
		interrupts-extended = GPIRQ_PMIC;

		regulators {
			buck1: BUCK1 {
				regulator-name = "BUCK1";
				regulator-min-microvolt = <600000>;
				regulator-max-microvolt = <2187500>;
				regulator-boot-on;
				regulator-always-on;
				regulator-ramp-delay = <3125>;
			};

			buck2: BUCK2 {
				regulator-name = "BUCK2";
				regulator-min-microvolt = <600000>;
				regulator-max-microvolt = <2187500>;
				regulator-limit-microvolt = <1025000>;
				regulator-boot-on;
				regulator-always-on;
				regulator-ramp-delay = <3125>;
				nxp,dvs-run-voltage = <950000>;
				nxp,dvs-standby-voltage = <850000>;
			};

			buck4: BUCK4 {
				regulator-name = "BUCK4";
				regulator-min-microvolt = <600000>;
				regulator-max-microvolt = <3400000>;
				regulator-boot-on;
				regulator-always-on;
			};

			buck5: BUCK5 {
				regulator-name = "BUCK5";
				regulator-min-microvolt = <600000>;
				regulator-max-microvolt = <3400000>;
				regulator-boot-on;
				regulator-always-on;
			};

			buck6: BUCK6 {
				regulator-name = "BUCK6";
				regulator-min-microvolt = <600000>;
				regulator-max-microvolt = <3400000>;
				regulator-boot-on;
				regulator-always-on;
			};

			ldo1: LDO1 {
				regulator-name = "LDO1";
				regulator-min-microvolt = <1600000>;
				regulator-max-microvolt = <3300000>;
				regulator-boot-on;
				regulator-always-on;
			};

			ldo2: LDO2 {
				regulator-name = "LDO2";
				regulator-min-microvolt = <800000>;
				regulator-max-microvolt = <1150000>;
				regulator-boot-on;
				regulator-always-on;
			};

			ldo3: LDO3 {
				regulator-name = "LDO3";
				regulator-min-microvolt = <800000>;
				regulator-max-microvolt = <3300000>;
				regulator-boot-on;
				regulator-always-on;
			};

			ldo4: LDO4 {
				regulator-name = "LDO4";
				regulator-min-microvolt = <800000>;
				regulator-max-microvolt = <3300000>;
				regulator-boot-on;
				regulator-always-on;
			};

			ldo5: LDO5 {
				regulator-name = "LDO5";
				regulator-min-microvolt = <1800000>;
				regulator-max-microvolt = <3300000>;
				regulator-boot-on;
				regulator-always-on;
			};
		};
	};
};

&i2c2 {
	clock-frequency = <100000>;
	pinctrl-names = "default", "gpio";
	pinctrl-0 = <&pinctrl_i2c2>;
	pinctrl-1 = <&pinctrl_i2c2_1>;
	scl-gpios = GP_I2C2_SCL;
	sda-gpios = GP_I2C2_SDA;
	status = "okay";

	pca9546: i2cmux9546@70 {
		pinctrl-names = "default";
		pinctrl-0 = <&pinctrl_i2c2_pca9546>;
		compatible = "nxp,pca9546";
		reg = <0x70>;
		reset-gpios = GP_PCA9546_RESET;
		#address-cells = <1>;
		#size-cells = <0>;

		i2c2a: i2c2@0 {
			clock-frequency = <100000>;
			reg = <0>;
			#address-cells = <1>;
			#size-cells = <0>;
		};

		i2c2b: i2c2@1 {
			/* J9  - camera*/
			clock-frequency = <100000>;
			reg = <1>;
			#address-cells = <1>;
			#size-cells = <0>;
			/* edid  @50 */
		};

		i2c2c: i2c2@2 {
			/* J10 - camera */
			clock-frequency = <100000>;
			reg = <2>;
			#address-cells = <1>;
			#size-cells = <0>;
		};

		i2c2d: i2c2@3 {
			/* rtc, J11 mipi */
			clock-frequency = <100000>;
			reg = <3>;
			#address-cells = <1>;
			#size-cells = <0>;
		};
	};
};

&i2c2b {
	basler_camera@36 {
		compatible = "basler,basler-camera-vvcam", "basler-camera-vvcam";
		reg = <0x36>;
		csi_id = <0x00>;
		status = "okay";

		port {
			basler_ep_0: endpoint {
				clock-lanes = <0>;
				data-lanes = <1 2 3 4>;
				link-frequencies = /bits/ 64 <750000000>;
				max-lane-frequency = /bits/ 64 <750000000>;
				max-pixel-frequency = /bits/ 64 <266000000>;
				max-data-rate = /bits/ 64 <0>;
				remote-endpoint = <&mipi_csi0_ep>;
			};
		};
	};
};

&i2c2c {
	ov5640-mipi1@3c {
		AVDD-supply = <&reg_vref_2v5>;
		DOVDD-supply = <&reg_vref_1v8>;
		DVDD-supply = <&reg_vref_3v3>;
		clocks = <&csi_mclk>;
		clock-names = "xclk";
		compatible = "ovti,ov5640";
		pinctrl-names = "default";
		pinctrl-0 = <&pinctrl_i2c2c_ov5640_mipi>;
		powerdown-gpios = GP_OV5640_MIPI_POWER_DOWN;
		reg = <0x3c>;
		reset-gpios = GP_OV5640_MIPI_RESET;
		status = "okay";

		port {
			ov5640_mipi1_ep: endpoint {
				clock-lanes = <0>;
				data-lanes = <1 2>;
				remote-endpoint = <&mipi1_ov5640_ep>;
			};
		};
	};
};

&i2c2d {
	rtc@52 {
		backup-switchover-dsm;
		compatible = "microcrystal,rv3028";
		pinctrl-names = "default";
		pinctrl-0 = <&pinctrl_i2c2d_rv3028>;
		reg = <0x52>;
		interrupts-extended = GPIRQ_RV3028;
		wakeup-source;
	};
};

&i2c3 {
	clock-frequency = <100000>;
	pinctrl-names = "default", "gpio";
	pinctrl-0 = <&pinctrl_i2c3>;
	pinctrl-1 = <&pinctrl_i2c3_1>;
	scl-gpios = GP_I2C3_SCL;
	sda-gpios = GP_I2C3_SDA;
	status = "okay";

	wm8962: codec@1a {
		AVDD-supply = <&reg_vref_1v8>;
		CPVDD-supply = <&reg_vref_1v8>;
		DBVDD-supply = <&reg_vref_3v3>;
		DCVDD-supply = <&reg_vref_1v8>;
		MICVDD-supply = <&reg_vref_3v3>;
		PLLVDD-supply = <&reg_vref_1v8>;
		SPKVDD1-supply = <&reg_vref_5v0>;
		SPKVDD2-supply = <&reg_vref_5v0>;
		clocks = <&audio_blk_ctrl IMX8MP_CLK_AUDIO_BLK_CTRL_SAI3_MCLK1>;
		compatible = "wlf,wm8962";
		gpio-cfg = <
			0x0000 /* n/c */
			0x0001 /* gpio2, 1: default */
			0x0013 /* gpio3, 2: dmicclk */
			0x0000 /* n/c, 3: default */
			0x8014 /* gpio5, 4: dmic_dat */
			0x0000 /* gpio6, 5: default */
		>;
		mic-cfg = <0x200>;
		reg = <0x1a>;
		#sound-dai-cells = <0>;
	};
};

&i2c4 {
	clock-frequency = <100000>;
	pinctrl-names = "default", "gpio";
	pinctrl-0 = <&pinctrl_i2c4>;
	pinctrl-1 = <&pinctrl_i2c4_1>;
	scl-gpios = GP_I2C4_SCL;
	sda-gpios = GP_I2C4_SDA;
	status = "okay";

	usb_mux: hd3ss3220@47 {
		/* tusb320 is compatible with hd3ss3220 */
		compatible = "ti,hd3ss3220";
		interrupts-extended = GPIRQ_HD3SS3220;
		pinctrl-names = "default";
		pinctrl-0 = <&pinctrl_i2c4_hd3ss3220>;
		reg = <0x47>;

		ports {
			#address-cells = <1>;
			#size-cells = <0>;

			port@0 {
				reg = <0>;
				hd3ss3220_in_ep: endpoint {
					remote-endpoint = <&ss_ep>;
				};
			};

			port@1 {
				reg = <1>;
				hd3ss3220_out_ep: endpoint {
					remote-endpoint = <&usb3_role_switch>;
				};
			};
		};
	};
};

&irqsteer_hdmi {
	status = "okay";
};

&isi_0 {
	status = "disabled";

	cap_device {
		status = "okay";
	};

	m2m_device {
		status = "okay";
	};
};

&isi_1 {
	status = "okay";

	cap_device {
		status = "okay";
	};
};

&isp_0 {
	status = "okay";
};

&isp_1 {
	status = "disabled";
};

&lcdif1 {
	status = "disabled";
};

&lcdif2 {
	status = "disabled";
};

&lcdif3 {
	status = "disabled";
};

&ldb {
	lvds-channel@0 {
		backlight = <&backlight_lvds>;
		fsl,data-mapping = "spwg";
		fsl,data-width = <24>;

		display-timings {
			t_lvds: t_lvds_default {
				/* m101nwwb by default */
				clock-frequency = <74250000>;
				hactive = <1280>;
				vactive = <800>;
				hback-porch = <5>;
				hfront-porch = <123>;
				vback-porch = <3>;
				vfront-porch = <24>;
				hsync-len = <1>;
				vsync-len = <1>;
			};
		};
	};

	lvds-channel@1 {
		backlight = <&backlight_lvds>;
		fsl,data-mapping = "spwg";
		fsl,data-width = <24>;

		display-timings {
			t_lvds2: t_lvds_default {
				/* m101nwwb by default */
				clock-frequency = <74250000>;
				hactive = <1280>;
				vactive = <800>;
				hback-porch = <5>;
				hfront-porch = <123>;
				vback-porch = <3>;
				vfront-porch = <24>;
				hsync-len = <1>;
				vsync-len = <1>;
			};
		};
	};
};

&ldb_phy {
	status = "okay";
};

&micfil {
	pinctrl-names = "default";
	pinctrl-0 = <&pinctrl_pdm>;
	assigned-clocks = <&clk IMX8MP_CLK_PDM>;
	assigned-clock-parents = <&clk IMX8MP_AUDIO_PLL1_OUT>;
	assigned-clock-rates = <196608000>;
	status = "okay";
};

&mipi_csi_0 {
	#address-cells = <1>;
	#size-cells = <0>;
	status = "okay";

	port@0 {
		reg = <0>;

		mipi_csi0_ep: endpoint {
			csis-clk-settle = <2>;
			csis-hs-settle = <16>;
			csis-wclk;
			data-lanes = <4>;
			remote-endpoint = <&basler_ep_0>;
		};
	};
};

&mipi_csi_1 {
	#address-cells = <1>;
	#size-cells = <0>;
	status = "okay";

	port@1 {
		reg = <1>;

		mipi1_ov5640_ep: endpoint {
			remote-endpoint = <&ov5640_mipi1_ep>;
			data-lanes = <2>;
			csis-hs-settle = <13>;
			csis-clk-settle = <2>;
			csis-wclk;
		};
	};
};

&mix_gpu_ml {
	status = "okay";
};

&ml_vipsi {
	status = "okay";
};

&pwm2 {
	pinctrl-names = "default";
	pinctrl-0 = <&pinctrl_pwm2>;
	status = "okay";
};

&pwm4 {
	assigned-clocks = <&clk IMX8MP_CLK_PWM4>;
	assigned-clock-parents = <&clk IMX8MP_SYS_PLL1_40M>;
	assigned-clock-rates = <40000000>;
	pinctrl-names = "default";
	pinctrl-0 = <&pinctrl_pwm4>;
	status = "okay";
};

&sai3 {
	pinctrl-names = "default";
	pinctrl-0 = <&pinctrl_sai3>;
	assigned-clocks = <&clk IMX8MP_CLK_SAI3>;
	assigned-clock-parents = <&clk IMX8MP_AUDIO_PLL1_OUT>;
	assigned-clock-rates = <12288000>;
	clocks = <&audio_blk_ctrl IMX8MP_CLK_AUDIO_BLK_CTRL_SAI3_IPG>, <&clk IMX8MP_CLK_DUMMY>,
		 <&audio_blk_ctrl IMX8MP_CLK_AUDIO_BLK_CTRL_SAI3_MCLK1>, <&clk IMX8MP_CLK_DUMMY>,
		 <&clk IMX8MP_CLK_DUMMY>;
	clock-names = "bus", "mclk0", "mclk1", "mclk2", "mclk3";
	fsl,sai-mclk-direction-output;
	status = "okay";
};

&sdma2 {
	status = "okay";
};

&snvs_pwrkey {
	status = "okay";
};

&uart1 { /* BT */
	pinctrl-names = "default";
	pinctrl-0 = <&pinctrl_uart1>;
	assigned-clocks = <&clk IMX8MP_CLK_UART1>;
	assigned-clock-parents = <&clk IMX8MP_SYS_PLL1_80M>;
	uart-has-rtscts;
	status = "okay";
};

&uart2 {
	/* console */
	pinctrl-names = "default";
	pinctrl-0 = <&pinctrl_uart2>;
	status = "okay";
};

&uart3 {
	assigned-clocks = <&clk IMX8MP_CLK_UART3>;
	assigned-clock-parents = <&clk IMX8MP_SYS_PLL1_80M>;
	control-gpios = GP_UART3_RS485_TX_EN, GP_UART3_RS485_RX_EN;
	linux,rs485-enabled-at-boot-time;
	off_levels = <2>;
	pinctrl-names = "default";
	pinctrl-0 = <&pinctrl_uart3>;
	rs232_levels = <1>;
	rs232_txen_mask = <1>;
	rs232_txen_levels = <1>;
	rs485_levels = <0>;	/* enable rx */
	rs485_txen_mask = <1>;
	rs485_txen_levels = <1>;
	rxact_mask = <0>;	/* this is for rx activity led */
	rxact_levels = <0>;
	status = "okay";
};

&uart4 {
	assigned-clocks = <&clk IMX8MP_CLK_UART4>;
	assigned-clock-parents = <&clk IMX8MP_SYS_PLL1_80M>;
	control-gpios = GP_UART4_RS485_TX_EN, GP_UART4_RS485_RX_EN;
	linux,rs485-enabled-at-boot-time;
	off_levels = <2>;
	pinctrl-names = "default";
	pinctrl-0 = <&pinctrl_uart4>;
	rs232_levels = <1>;
	rs232_txen_mask = <1>;
	rs232_txen_levels = <1>;
	rs485_levels = <0>;	/* enable rx */
	rs485_txen_mask = <1>;
	rs485_txen_levels = <1>;
	rxact_mask = <0>;	/* this is for rx activity led */
	rxact_levels = <0>;
	status = "okay";
};

&usb3_0 {
	fsl,over-current-active-low;
	status = "okay";
};

&usb3_1 {
	status = "okay";
};

&usb_dwc3_0 {
	dr_mode = "otg";
	pinctrl-names = "default";
	pinctrl-0 = <&pinctrl_usb3_0>;
	status = "okay";
	usb-role-switch;
	vbus-supply = <&reg_usb_otg_vbus>;

	ports {
		#address-cells = <1>;
		#size-cells = <0>;

		port@0 {
			reg = <0>;
			usb3_hs_ep: endpoint {
				remote-endpoint = <&hs_ep>;
			};
		};

		port@1 {
			reg = <1>;
			usb3_role_switch: endpoint {
				remote-endpoint = <&hd3ss3220_out_ep>;
			};
		};
	};
};

&usb_dwc3_1 {
	dr_mode = "host";
	pinctrl-names = "default";
	pinctrl-0 = <&pinctrl_usb3_1>;
	reset-gpios = GP_USB3_1_HUB_RESET;
	status = "okay";
};

&usb3_phy0 {
	fsl,phy-tx-preemp-amp-tune = <2>;
	status = "okay";
	vbus-supply = <&reg_vref_5v0>;
};

&usb3_phy1 {
	fsl,phy-tx-preemp-amp-tune = <2>;
	status = "okay";
	vbus-supply = <&reg_vref_5v0>;
};

&usdhc1 {
	bus-width = <4>;
	cd-gpios = GP_USDHC1_CD;
	pinctrl-names = "default", "state_100mhz", "state_200mhz";
	pinctrl-0 = <&pinctrl_usdhc1>, <&pinctrl_usdhc1_gpio>;
	pinctrl-1 = <&pinctrl_usdhc1_100mhz>, <&pinctrl_usdhc1_gpio>;
	pinctrl-2 = <&pinctrl_usdhc1_200mhz>, <&pinctrl_usdhc1_gpio>;
	status = "okay";
	vmmc-supply = <&reg_vref_3v3>;
};

&usdhc2 {
	bus-width = <4>;
	fsl,sdio-async-interrupt-enabled;
	keep-power-in-suspend;
	no-sd-uhs-sdr104;
	non-removable;
	pinctrl-names = "default", "state_100mhz", "state_200mhz";
	pinctrl-0 = <&pinctrl_usdhc2>;
	pinctrl-1 = <&pinctrl_usdhc2_100mhz>;
	pinctrl-2 = <&pinctrl_usdhc2_200mhz>;
	pm-ignore-notify;
	status = "okay";
	vmmc-supply = <&reg_wlan_vmmc>;
	vqmmc-1-8-v;
	vqmmc-supply = <&reg_vref_1v8>;
};

&usdhc3 {
	bus-width = <8>;
	no-mmc-hs400;
	non-removable;
	pinctrl-names = "default", "state_100mhz", "state_200mhz";
	pinctrl-0 = <&pinctrl_usdhc3>;
	pinctrl-1 = <&pinctrl_usdhc3_100mhz>;
	pinctrl-2 = <&pinctrl_usdhc3_200mhz>;
	status = "okay";
	vmmc-supply = <&reg_vref_3v3>;
	vqmmc-1-8-v;
	vqmmc-supply = <&reg_vref_1v8>;
};

&vpu_g1 {
	status = "okay";
};

&vpu_g2 {
	status = "okay";
};

&vpu_vc8000e {
	status = "okay";
};

&vpu_v4l2 {
	status = "okay";
};

&wdog1 {
	pinctrl-names = "default";
	pinctrl-0 = <&pinctrl_wdog>;
	fsl,ext-reset-output;
	status = "okay";
};

&xcvr {
	#sound-dai-cells = <0>;
	status = "okay";
};
